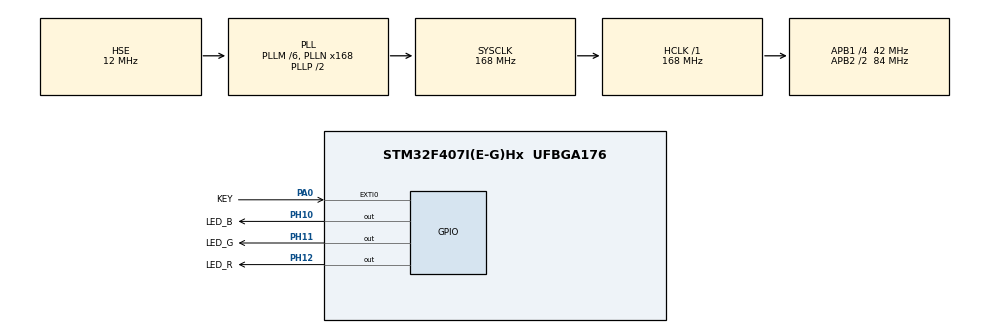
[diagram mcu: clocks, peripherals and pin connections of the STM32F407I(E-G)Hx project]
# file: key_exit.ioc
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Mcu.Family=STM32F4
Mcu.Name=STM32F407I(E-G)Hx
Mcu.Package=UFBGA176
NVIC.EXTI0_IRQn=true\:0\:0\:false\:false\:true\:true\:true\:true
NVIC.PriorityGroup=NVIC_PRIORITYGROUP_4
PA0-WKUP.GPIO_Label=KEY
PA0-WKUP.GPIO_ModeDefaultEXTI=GPIO_MODE_IT_RISING_FALLING
PA0-WKUP.GPIO_PuPd=GPIO_PULLUP
PA0-WKUP.Signal=GPXTI0
PA13.Mode=Serial_Wire
PA13.Signal=SYS_JTMS-SWDIO
PA14.Mode=Serial_Wire
PA14.Signal=SYS_JTCK-SWCLK
PH0-OSC_IN.Mode=HSE-External-Oscillator
PH0-OSC_IN.Signal=RCC_OSC_IN
PH1-OSC_OUT.Mode=HSE-External-Oscillator
PH1-OSC_OUT.Signal=RCC_OSC_OUT
PH10.GPIO_Label=LED_B
PH10.GPIO_PuPd=GPIO_PULLUP
PH10.PinState=GPIO_PIN_SET
PH10.Signal=GPIO_Output
PH11.GPIO_Label=LED_G
PH11.GPIO_PuPd=GPIO_PULLUP
PH11.PinState=GPIO_PIN_SET
PH11.Signal=GPIO_Output
PH12.GPIO_Label=LED_R
PH12.GPIO_PuPd=GPIO_PULLUP
PH12.PinState=GPIO_PIN_SET
PH12.Signal=GPIO_Output
ProjectManager.HeapSize=0x200
ProjectManager.StackSize=0x400
ProjectManager.TargetToolchain=STM32CubeIDE
RCC.48MHZClocksFreq_Value=84000000
RCC.AHBFreq_Value=168000000
RCC.APB1CLKDivider=RCC_HCLK_DIV4
RCC.APB1Freq_Value=42000000
RCC.APB1TimFreq_Value=84000000
RCC.APB2CLKDivider=RCC_HCLK_DIV2
RCC.APB2Freq_Value=84000000
RCC.APB2TimFreq_Value=168000000
RCC.CortexFreq_Value=168000000
RCC.HCLKFreq_Value=168000000
RCC.HSE_VALUE=12000000
RCC.HSI_VALUE=16000000
RCC.LSE_VALUE=32768
RCC.PLLM=6
RCC.PLLN=168
RCC.PLLSourceVirtual=RCC_PLLSOURCE_HSE
RCC.SYSCLKFreq_VALUE=168000000
RCC.SYSCLKSource=RCC_SYSCLKSOURCE_PLLCLK
RCC.VCOOutputFreq_Value=336000000
board=custom

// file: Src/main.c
/* USER CODE BEGIN Header */
/**
  ******************************************************************************
  * @file           : main.c
  * @brief          : Main program body
  ******************************************************************************
  * @attention
  *
  * <h2><center>&copy; Copyright (c) 2019 STMicroelectronics.
  * All rights reserved.</center></h2>
  *
  * This software component is licensed by ST under BSD 3-Clause license,
  * the "License"; You may not use this file except in compliance with the
  * License. You may obtain a copy of the License at:
  *                        opensource.org/licenses/BSD-3-Clause
  *
  ******************************************************************************
  */
/* USER CODE END Header */
#include "main.h"
#include "gpio.h"

void SystemClock_Config(void);

/* USER CODE BEGIN 0 */
//backgroud program
//��̨����
uint8_t exit_flag = 0;
uint8_t rising_falling_flag;

/**
  * @brief          exit callback function
  * @param[in]      GPIO_Pin:gpio pin
  * @retval         none
  */
/**
  * @brief          �ⲿ�жϻص�
  * @param[in]      GPIO_Pin:���ź�
  * @retval         none
  */
void HAL_GPIO_EXTI_Callback(uint16_t GPIO_Pin)
{
    if(GPIO_Pin == KEY_Pin)
    {
        if(exit_flag == 0)
        {
            exit_flag = 1;
            rising_falling_flag = HAL_GPIO_ReadPin(KEY_GPIO_Port, KEY_Pin);
        }
    }
}
/* USER CODE END 0 */

int main(void)
{

  /* MCU Configuration--------------------------------------------------------*/

  /* Reset of all peripherals, Initializes the Flash interface and the Systick. */
  HAL_Init();

  /* Configure the system clock */
  SystemClock_Config();

  /* Initialize all configured peripherals */
  MX_GPIO_Init();
  /* USER CODE BEGIN 2 */
    //set led dark
    //�ر�led
    HAL_GPIO_WritePin(LED_R_GPIO_Port, LED_R_Pin, GPIO_PIN_RESET);
    HAL_GPIO_WritePin(LED_G_GPIO_Port, LED_G_Pin, GPIO_PIN_RESET);
    HAL_GPIO_WritePin(LED_B_GPIO_Port, LED_B_Pin, GPIO_PIN_RESET);
  /* USER CODE END 2 */

  /* Infinite loop */
  while (1)
  {

    /* USER CODE BEGIN 3 */

        //foreground program
        //ǰ̨����
        if(exit_flag == 1)
        {
            exit_flag = 2;
            if(rising_falling_flag == GPIO_PIN_RESET)
            {
                //debouce
                //����
                HAL_Delay(20);
                if(HAL_GPIO_ReadPin(KEY_GPIO_Port, KEY_Pin) == GPIO_PIN_RESET)
                {
                    HAL_GPIO_WritePin(LED_G_GPIO_Port, LED_G_Pin, GPIO_PIN_SET);
                    exit_flag = 0;
                }
                else
                {
                    exit_flag = 0;
                }
            }
            else if(rising_falling_flag == GPIO_PIN_SET)
            {
                //debouce
                //����
                HAL_Delay(20);
                if(HAL_GPIO_ReadPin(KEY_GPIO_Port, KEY_Pin) == GPIO_PIN_SET)
                {
                    HAL_GPIO_WritePin(LED_G_GPIO_Port, LED_G_Pin, GPIO_PIN_RESET);
                    exit_flag = 0;
                }
                else
                {
                    exit_flag = 0;
                }
            }

        }
  }
  /* USER CODE END 3 */
}

void SystemClock_Config(void)
{
  RCC_OscInitTypeDef RCC_OscInitStruct = {0};
  RCC_ClkInitTypeDef RCC_ClkInitStruct = {0};

  /** Configure the main internal regulator output voltage
  */
  __HAL_RCC_PWR_CLK_ENABLE();
  __HAL_PWR_VOLTAGESCALING_CONFIG(PWR_REGULATOR_VOLTAGE_SCALE1);

  /** Initializes the RCC Oscillators according to the specified parameters
  * in the RCC_OscInitTypeDef structure.
  */
  RCC_OscInitStruct.OscillatorType = RCC_OSCILLATORTYPE_HSE;
  RCC_OscInitStruct.HSEState = RCC_HSE_ON;
  RCC_OscInitStruct.PLL.PLLState = RCC_PLL_ON;
  RCC_OscInitStruct.PLL.PLLSource = RCC_PLLSOURCE_HSE;
  RCC_OscInitStruct.PLL.PLLM = 6;
  RCC_OscInitStruct.PLL.PLLN = 168;
  RCC_OscInitStruct.PLL.PLLP = RCC_PLLP_DIV2;
  RCC_OscInitStruct.PLL.PLLQ = 4;
  if (HAL_RCC_OscConfig(&RCC_OscInitStruct) != HAL_OK)
  {
    Error_Handler();
  }

  /** Initializes the CPU, AHB and APB buses clocks
  */
  RCC_ClkInitStruct.ClockType = RCC_CLOCKTYPE_HCLK|RCC_CLOCKTYPE_SYSCLK
                              |RCC_CLOCKTYPE_PCLK1|RCC_CLOCKTYPE_PCLK2;
  RCC_ClkInitStruct.SYSCLKSource = RCC_SYSCLKSOURCE_PLLCLK;
  RCC_ClkInitStruct.AHBCLKDivider = RCC_SYSCLK_DIV1;
  RCC_ClkInitStruct.APB1CLKDivider = RCC_HCLK_DIV4;
  RCC_ClkInitStruct.APB2CLKDivider = RCC_HCLK_DIV2;

  if (HAL_RCC_ClockConfig(&RCC_ClkInitStruct, FLASH_LATENCY_5) != HAL_OK)
  {
    Error_Handler();
  }
}

void Error_Handler(void)
{
}
